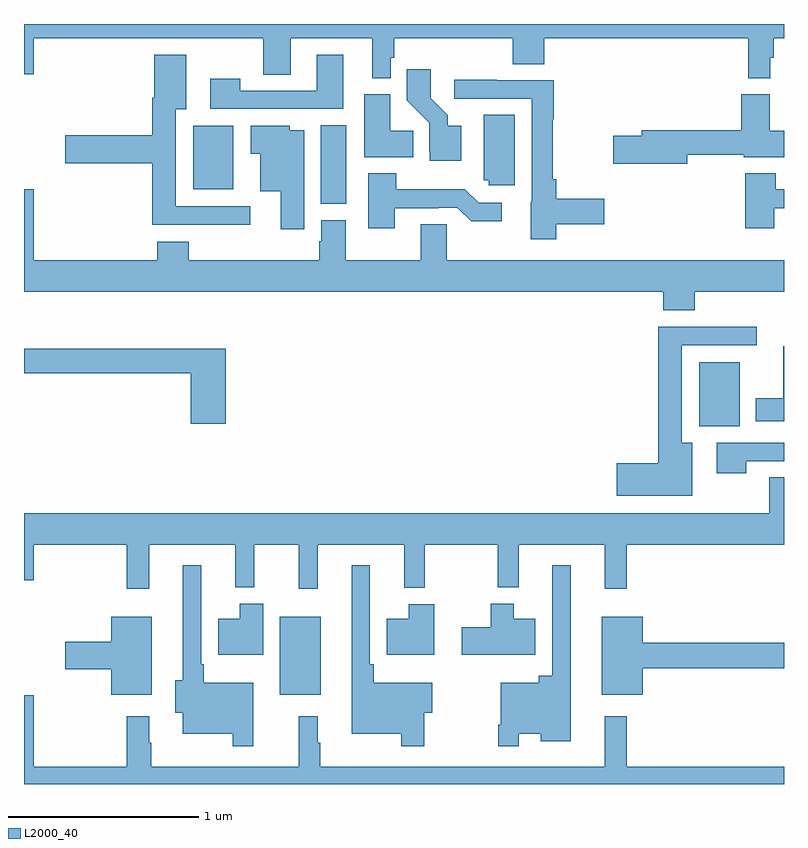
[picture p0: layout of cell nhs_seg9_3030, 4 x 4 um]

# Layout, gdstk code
import gdstk
lib = gdstk.Library(unit=1e-6, precision=1e-09)
def R(c, l, rs):  # rectangles x0, y0, x1, y1
    for r in rs: c.add(gdstk.rectangle(r[:2], r[2:], *l))
def P(c, l, *ps):  # polygons
    for p in ps: c.add(gdstk.Polygon(p, *l))
L2000_40 = (2000, 40)

nhs_seg9_3030 = lib.new_cell('nhs_seg9_3030')
R(nhs_seg9_3030, L2000_40, [(286.346,1188.971,286.561,1189.381), (288.554,1190.384,288.766,1190.719), (286.562,1191.553,286.696,1191.968), (285.89,1191.629,286.102,1191.964)])
P(nhs_seg9_3030, L2000_40, [(286.929,1192.323),(286.949,1192.323),(286.949,1192.424),(287.573,1192.424),(287.573,1192.288),(287.738,1192.288),(287.738,1192.424),(288.811,1192.424),(288.811,1192.214),(288.927,1192.214),(288.927,1192.323),(288.947,1192.323),(288.947,1192.424),(289,1192.424),(289,1192.5),(285,1192.5),(285,1192.236),(285.052,1192.236),(285.052,1192.424),(286.258,1192.424),(286.258,1192.234),(286.405,1192.234),(286.405,1192.424),(286.832,1192.424),(286.832,1192.214),(286.929,1192.214)],
  [(286.681,1192.339),(286.541,1192.339),(286.541,1192.149),(286.137,1192.149),(286.137,1192.213),(285.981,1192.213),(285.981,1192.053),(286.681,1192.053)],
  [(286.192,1191.54),(285.799,1191.54),(285.799,1192.052),(285.853,1192.052),(285.853,1192.339),(285.686,1192.339),(285.686,1192.112),(285.674,1192.112),(285.674,1191.914),(285.216,1191.914),(285.216,1191.767),(285.674,1191.767),(285.674,1191.443),(286.192,1191.443)],
  [(287.302,1191.964),(287.23,1191.964),(287.23,1192.019),(287.14,1192.109),(287.14,1192.261),(287.014,1192.261),(287.014,1192.098),(287.133,1191.979),(287.133,1191.828),(287.135,1191.828),(287.135,1191.779),(287.302,1191.779)],
  [(287.802,1191.446),(288.055,1191.446),(288.055,1191.581),(287.802,1191.581),(287.802,1191.682),(287.782,1191.682),(287.782,1192),(287.789,1192),(287.789,1192.203),(287.489,1192.203),(287.489,1192.206),(287.265,1192.206),(287.265,1192.107),(287.673,1192.107),(287.673,1191.564),(287.666,1191.564),(287.666,1191.368),(287.802,1191.368)],
  [(288.49,1191.811),(288.788,1191.811),(288.788,1191.8),(289,1191.8),(289,1191.938),(288.925,1191.938),(288.925,1192.129),(288.776,1192.129),(288.776,1191.94),(288.251,1191.94),(288.251,1191.911),(288.102,1191.911),(288.102,1191.764),(288.49,1191.764)],
  [(287.048,1191.938),(286.927,1191.938),(286.927,1192.129),(286.79,1192.129),(286.79,1191.8),(287.048,1191.8)],
  [(287.584,1192.022),(287.42,1192.022),(287.42,1191.678),(287.445,1191.678),(287.445,1191.651),(287.584,1191.651)],
  [(286.474,1191.94),(286.398,1191.94),(286.398,1191.964),(286.193,1191.964),(286.193,1191.818),(286.244,1191.818),(286.244,1191.62),(286.352,1191.62),(286.352,1191.42),(286.474,1191.42)],
  [(288.949,1191.531),(289,1191.531),(289,1191.631),(288.957,1191.631),(288.957,1191.715),(288.797,1191.715),(288.797,1191.426),(288.949,1191.426)],
  [(286.951,1191.531),(287.18,1191.531),(287.18,1191.534),(287.28,1191.534),(287.353,1191.461),(287.515,1191.461),(287.515,1191.558),(287.394,1191.558),(287.321,1191.631),(286.959,1191.631),(286.959,1191.715),(286.811,1191.715),(286.811,1191.426),(286.951,1191.426)],
  [(287.226,1191.446),(287.087,1191.446),(287.087,1191.256),(286.693,1191.256),(286.693,1191.468),(286.565,1191.468),(286.565,1191.357),(286.553,1191.357),(286.553,1191.256),(285.866,1191.256),(285.866,1191.355),(285.701,1191.355),(285.701,1191.256),(285.052,1191.256),(285.052,1191.631),(285,1191.631),(285,1191.092),(288.365,1191.092),(288.365,1190.993),(288.53,1190.993),(288.53,1191.092),(289,1191.092),(289,1191.256),(287.226,1191.256)],
  [(288.517,1190.296),(288.463,1190.296),(288.463,1190.808),(288.856,1190.808),(288.856,1190.906),(288.338,1190.906),(288.338,1190.189),(288.12,1190.189),(288.12,1190.018),(288.517,1190.018)],
  [(289,1190.805),(288.995,1190.805),(288.995,1190.53),(288.851,1190.53),(288.851,1190.408),(289,1190.408)],
  [(286.061,1190.791),(285,1190.791),(285,1190.662),(285.878,1190.662),(285.878,1190.397),(286.061,1190.397)],
  [(288.801,1190.199),(289,1190.199),(289,1190.295),(288.645,1190.295),(288.645,1190.136),(288.801,1190.136)],
  [(285.659,1189.76),(286.112,1189.76),(286.112,1189.535),(286.212,1189.535),(286.212,1189.76),(286.447,1189.76),(286.447,1189.527),(286.547,1189.527),(286.547,1189.76),(287,1189.76),(287,1189.532),(287.11,1189.532),(287.11,1189.76),(287.493,1189.76),(287.493,1189.535),(287.603,1189.535),(287.603,1189.76),(288.056,1189.76),(288.056,1189.527),(288.173,1189.527),(288.173,1189.76),(289,1189.76),(289,1190.114),(288.922,1190.114),(288.922,1189.924),(285,1189.924),(285,1189.572),(285.052,1189.572),(285.052,1189.76),(285.541,1189.76),(285.541,1189.527),(285.659,1189.527)],
  [(287.107,1188.875),(287.149,1188.875),(287.149,1189.033),(286.841,1189.033),(286.841,1189.129),(286.821,1189.129),(286.821,1189.651),(286.724,1189.651),(286.724,1188.764),(286.986,1188.764),(286.986,1188.699),(287.107,1188.699)],
  [(286.206,1189.033),(285.946,1189.033),(285.946,1189.129),(285.933,1189.129),(285.933,1189.651),(285.836,1189.651),(285.836,1189.046),(285.797,1189.046),(285.797,1188.875),(285.836,1188.875),(285.836,1188.764),(286.098,1188.764),(286.098,1188.699),(286.206,1188.699)],
  [(287.604,1188.764),(287.72,1188.764),(287.72,1188.725),(287.878,1188.725),(287.878,1189.651),(287.781,1189.651),(287.781,1189.069),(287.708,1189.069),(287.708,1189.033),(287.508,1189.033),(287.508,1188.811),(287.496,1188.811),(287.496,1188.699),(287.604,1188.699)],
  [(286.258,1189.45),(286.136,1189.45),(286.136,1189.369),(286.022,1189.369),(286.022,1189.181),(286.258,1189.181)],
  [(287.692,1189.369),(287.578,1189.369),(287.578,1189.45),(287.456,1189.45),(287.456,1189.326),(287.304,1189.326),(287.304,1189.181),(287.692,1189.181)],
  [(287.158,1189.447),(287.024,1189.447),(287.024,1189.369),(286.91,1189.369),(286.91,1189.181),(287.158,1189.181)],
  [(288.256,1189.108),(289,1189.108),(289,1189.244),(288.256,1189.244),(288.256,1189.381),(288.041,1189.381),(288.041,1188.971),(288.256,1188.971)],
  [(285.673,1189.381),(285.458,1189.381),(285.458,1189.25),(285.216,1189.25),(285.216,1189.103),(285.458,1189.103),(285.458,1188.971),(285.673,1188.971)],
  [(289,1188.592),(288.173,1188.592),(288.173,1188.856),(288.056,1188.856),(288.056,1188.592),(286.558,1188.592),(286.558,1188.716),(286.546,1188.716),(286.546,1188.856),(286.447,1188.856),(286.447,1188.592),(285.67,1188.592),(285.67,1188.716),(285.658,1188.716),(285.658,1188.856),(285.541,1188.856),(285.541,1188.592),(285.052,1188.592),(285.052,1188.967),(285,1188.967),(285,1188.5),(289,1188.5)])

lib.write_gds('nhs_seg9_3030.gds')
